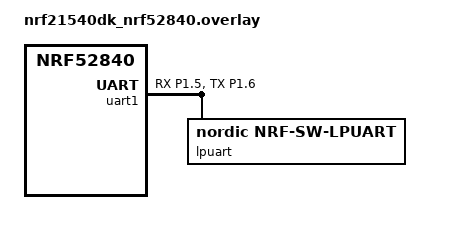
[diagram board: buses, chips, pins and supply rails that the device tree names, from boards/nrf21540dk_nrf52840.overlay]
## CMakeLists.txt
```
#
# Copyright (c) 2020 Nordic Semiconductor
#
# SPDX-License-Identifier: LicenseRef-Nordic-5-Clause
#

cmake_minimum_required(VERSION 3.20.0)

find_package(Zephyr REQUIRED HINTS $ENV{ZEPHYR_BASE})
project(low_power_uart)

FILE(GLOB app_sources src/*.c)
# NORDIC SDK APP START
target_sources(app PRIVATE
	${app_sources}
)
# NORDIC SDK APP END
```

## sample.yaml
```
sample:
  description: Low Power UART sample
  name: Low Power UART

common:
  tags:
    - ci_build
    - sysbuild
    - ci_samples_peripheral_lpuart
  timeout: 30

tests:
  sample.peripheral.lpuart:
    sysbuild: true
    platform_allow:
      - nrf52dk/nrf52832
      - nrf52833dk/nrf52833
      - nrf52840dk/nrf52840
      - nrf9160dk/nrf9160/ns
      - nrf5340dk/nrf5340/cpuapp
      - nrf21540dk/nrf52840
      - nrf54l15dk/nrf54l05/cpuapp
      - nrf54l15dk/nrf54l10/cpuapp
      - nrf54l15dk/nrf54l15/cpuapp
      - nrf54lv10dk/nrf54lv10a/cpuapp
      - nrf54lv10dk@0.0.0/nrf54lv10a/cpuapp
      - nrf54lv10dk@0.2.0/nrf54lv10a/cpuapp
      - nrf54lm20pdk/nrf54lm20a/cpuapp
      - nrf54lm20pdk@0.0.0/nrf54lm20a/cpuapp
      - nrf54lm20pdk@0.2.0/nrf54lm20a/cpuapp
      - nrf54lm20pdk@0.2.0.csp/nrf54lm20a/cpuapp
    integration_platforms:
      - nrf52dk/nrf52832
      - nrf52833dk/nrf52833
      - nrf52840dk/nrf52840
      - nrf9160dk/nrf9160/ns
      - nrf5340dk/nrf5340/cpuapp
      - nrf21540dk/nrf52840
      - nrf54l15dk/nrf54l05/cpuapp
      - nrf54l15dk/nrf54l10/cpuapp
      - nrf54l15dk/nrf54l15/cpuapp
      - nrf54lv10dk/nrf54lv10a/cpuapp
      - nrf54lm20pdk/nrf54lm20a/cpuapp
    platform_exclude: native_sim
    tags: ppk_power_measure
    harness: pytest
    harness_config:
      fixture: gpio_loopback
      pytest_root:
        - "${CUSTOM_ROOT_TEST_DIR}/test_measure_power_consumption.py::test_measure_and_data_dump_power_consumption_lpuart"
    timeout: 90
  sample.peripheral.lpuart.debug:
    sysbuild: true
    platform_allow:
      - nrf52833dk/nrf52833
      - nrf52840dk/nrf52840
      - nrf9160dk/nrf9160/ns
      - nrf5340dk/nrf5340/cpuapp
      - nrf21540dk/nrf52840
      - nrf54l15dk/nrf54l05/cpuapp
      - nrf54l15dk/nrf54l10/cpuapp
      - nrf54l15dk/nrf54l15/cpuapp
      - nrf54lv10dk/nrf54lv10a/cpuapp
      - nrf54lv10dk@0.0.0/nrf54lv10a/cpuapp
      - nrf54lv10dk@0.2.0/nrf54lv10a/cpuapp
      - nrf54lm20pdk/nrf54lm20a/cpuapp
      - nrf54lm20pdk@0.0.0/nrf54lm20a/cpuapp
      - nrf54lm20pdk@0.2.0/nrf54lm20a/cpuapp
      - nrf54lm20pdk@0.2.0.csp/nrf54lm20a/cpuapp
    integration_platforms:
      - nrf52840dk/nrf52840
    extra_configs:
      - CONFIG_ASSERT=y
      - CONFIG_CONSOLE=y
      - CONFIG_UART_CONSOLE=y
      - CONFIG_LOG=y
      - CONFIG_NRF_SW_LPUART_LOG_LEVEL_DBG=y
    harness: console
    harness_config:
      fixture: gpio_loopback
      type: multi_line
      ordered: true
      regex:
        - ".*app: ASYNC Tx sent 5 bytes"
        - ".*app: ASYNC Received data 5 bytes"
        - ".*app: ASYNC Received data 1 bytes"
        - ".*app: ASYNC Tx sent 5 bytes"
        - ".*app: ASYNC Received data 5 bytes"
        - ".*app: ASYNC Received data 1 bytes"
        - ".*app: ASYNC Tx sent 5 bytes"
        - ".*app: ASYNC Received data 5 bytes"
  sample.peripheral.lpuart_int_driven:
    sysbuild: true
    extra_configs:
      - CONFIG_NRF_SW_LPUART_INT_DRIVEN=y
    integration_platforms:
      - nrf52dk/nrf52832
      - nrf52833dk/nrf52833
      - nrf52840dk/nrf52840
      - nrf9160dk/nrf9160/ns
      - nrf5340dk/nrf5340/cpuapp
      - nrf21540dk/nrf52840
      - nrf54l15dk/nrf54l05/cpuapp
      - nrf54l15dk/nrf54l10/cpuapp
      - nrf54l15dk/nrf54l15/cpuapp
      - nrf54lv10dk/nrf54lv10a/cpuapp
      - nrf54lm20pdk/nrf54lm20a/cpuapp
    platform_allow:
      - nrf52dk/nrf52832
      - nrf52833dk/nrf52833
      - nrf52840dk/nrf52840
      - nrf9160dk/nrf9160/ns
      - nrf5340dk/nrf5340/cpuapp
      - nrf21540dk/nrf52840
      - nrf54l15dk/nrf54l05/cpuapp
      - nrf54l15dk/nrf54l10/cpuapp
      - nrf54l15dk/nrf54l15/cpuapp
      - nrf54lv10dk/nrf54lv10a/cpuapp
      - nrf54lv10dk@0.0.0/nrf54lv10a/cpuapp
      - nrf54lv10dk@0.2.0/nrf54lv10a/cpuapp
      - nrf54lm20pdk/nrf54lm20a/cpuapp
      - nrf54lm20pdk@0.0.0/nrf54lm20a/cpuapp
      - nrf54lm20pdk@0.2.0/nrf54lm20a/cpuapp
      - nrf54lm20pdk@0.2.0.csp/nrf54lm20a/cpuapp
    tags: ppk_power_measure
    harness: pytest
    harness_config:
      fixture: gpio_loopback
      pytest_root:
        - "${CUSTOM_ROOT_TEST_DIR}/test_measure_power_consumption.py::test_measure_and_data_dump_power_consumption_lpuart"
    timeout: 90
  sample.peripheral.lpuart_int_driven.debug:
    sysbuild: true
    extra_configs:
      - CONFIG_NRF_SW_LPUART_INT_DRIVEN=y
      - CONFIG_ASSERT=y
      - CONFIG_CONSOLE=y
      - CONFIG_UART_CONSOLE=y
      - CONFIG_LOG=y
      - CONFIG_NRF_SW_LPUART_LOG_LEVEL_DBG=y
    integration_platforms:
      - nrf52dk/nrf52832
      - nrf52833dk/nrf52833
      - nrf52840dk/nrf52840
      - nrf9160dk/nrf9160/ns
      - nrf5340dk/nrf5340/cpuapp
      - nrf21540dk/nrf52840
      - nrf54l15dk/nrf54l05/cpuapp
      - nrf54l15dk/nrf54l10/cpuapp
      - nrf54l15dk/nrf54l15/cpuapp
      - nrf54lv10dk/nrf54lv10a/cpuapp
      - nrf54lm20pdk/nrf54lm20a/cpuapp
    platform_allow:
      - nrf52dk/nrf52832
      - nrf52833dk/nrf52833
      - nrf52840dk/nrf52840
      - nrf9160dk/nrf9160/ns
      - nrf5340dk/nrf5340/cpuapp
      - nrf21540dk/nrf52840
      - nrf54l15dk/nrf54l05/cpuapp
      - nrf54l15dk/nrf54l10/cpuapp
      - nrf54l15dk/nrf54l15/cpuapp
      - nrf54lv10dk/nrf54lv10a/cpuapp
      - nrf54lv10dk@0.0.0/nrf54lv10a/cpuapp
      - nrf54lv10dk@0.2.0/nrf54lv10a/cpuapp
      - nrf54lm20pdk/nrf54lm20a/cpuapp
      - nrf54lm20pdk@0.0.0/nrf54lm20a/cpuapp
      - nrf54lm20pdk@0.2.0/nrf54lm20a/cpuapp
      - nrf54lm20pdk@0.2.0.csp/nrf54lm20a/cpuapp
    harness: console
    harness_config:
      fixture: gpio_loopback
      type: multi_line
      ordered: true
      regex:
        - ".*app: IRQ Tx sent 5 bytes"
        - ".*app: IRQ Received data 5 bytes"
        - ".*app: IRQ Received data 1 bytes"
        - ".*app: IRQ Tx sent 5 bytes"
        - ".*app: IRQ Received data 5 bytes"
        - ".*app: IRQ Received data 1 bytes"
        - ".*app: IRQ Tx sent 5 bytes"
        - ".*app: IRQ Received data 5 bytes"
```

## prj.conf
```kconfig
#
# Copyright (c) 2020 Nordic Semiconductor
#
# SPDX-License-Identifier: LicenseRef-Nordic-5-Clause
#
CONFIG_NRF_SW_LPUART=y

# Sample is showing low power capabilities of low power uart module thus
# console/logging uart is disabled.

CONFIG_CONSOLE=n
CONFIG_UART_CONSOLE=n
```

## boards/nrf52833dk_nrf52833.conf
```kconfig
#
# Copyright (c) 2024 Nordic Semiconductor
#
# SPDX-License-Identifier: LicenseRef-Nordic-5-Clause
#
CONFIG_UART_1_ASYNC=y
CONFIG_UART_1_INTERRUPT_DRIVEN=n
CONFIG_UART_1_NRF_HW_ASYNC=y
CONFIG_UART_1_NRF_HW_ASYNC_TIMER=2
CONFIG_UART_1_NRF_ASYNC_LOW_POWER=y
CONFIG_NRFX_TIMER2=y
```

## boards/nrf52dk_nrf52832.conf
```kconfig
#
# Copyright (c) 2020 Nordic Semiconductor
#
# SPDX-License-Identifier: LicenseRef-Nordic-5-Clause
#

CONFIG_UART_0_ASYNC=y
CONFIG_UART_0_INTERRUPT_DRIVEN=n
CONFIG_UART_0_NRF_HW_ASYNC=y
CONFIG_UART_0_NRF_HW_ASYNC_TIMER=2
CONFIG_NRFX_TIMER2=y
```

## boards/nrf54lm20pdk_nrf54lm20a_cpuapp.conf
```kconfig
#
# Copyright (c) 2024 Nordic Semiconductor
#
# SPDX-License-Identifier: LicenseRef-Nordic-5-Clause
#
CONFIG_UART_21_ASYNC=y
CONFIG_UART_21_INTERRUPT_DRIVEN=n
# Do not use interrupt driven API for console UART to not enable RX.
CONFIG_UART_20_INTERRUPT_DRIVEN=n
```

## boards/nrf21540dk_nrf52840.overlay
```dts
/* SPDX-License-Identifier: LicenseRef-Nordic-5-Clause */

&uart1 {
	status = "okay";
	pinctrl-0 = <&uart1_default_alt>;
	pinctrl-1 = <&uart1_sleep_alt>;
	pinctrl-names = "default", "sleep";
	lpuart: nrf-sw-lpuart {
		compatible = "nordic,nrf-sw-lpuart";
		status = "okay";
		req-pin = <39>;
		rdy-pin = <40>;
	};
};

&uart0_default {
	/* Disconnect CTS and RTS lines from pins.
	 * This is a temporary workaround for increased current consumption
	 * observed on nRF21540 v2.0.0 only (~450 uA more than on v1.0.0).
	 */
	group1 {
		psels = <NRF_PSEL(UART_TX, 0, 6)>,
			<NRF_PSEL_DISCONNECTED(UART_RTS)>;
	};
	group2 {
		psels = <NRF_PSEL(UART_RX, 0, 8)>,
			<NRF_PSEL_DISCONNECTED(UART_CTS)>;
	};
};

&uart0 {
	disable-rx;
};

&gpiote {
	interrupts = <6 NRF_DEFAULT_IRQ_PRIORITY>;
};

&pinctrl {
	uart1_default_alt: uart1_default_alt {
		group1 {
			psels = <NRF_PSEL(UART_RX, 1, 5)>,
				<NRF_PSEL(UART_TX, 1, 6)>;
		};
	};

	uart1_sleep_alt: uart1_sleep_alt {
		group1 {
			psels = <NRF_PSEL(UART_RX, 1, 5)>,
				<NRF_PSEL(UART_TX, 1, 6)>;
			low-power-enable;
		};
	};
};
```

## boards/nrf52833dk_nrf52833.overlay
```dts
/* SPDX-License-Identifier: LicenseRef-Nordic-5-Clause */

&uart1 {
	status = "okay";
	pinctrl-0 = <&uart1_default_alt>;
	pinctrl-1 = <&uart1_sleep_alt>;
	pinctrl-names = "default", "sleep";
	lpuart: nrf-sw-lpuart {
		compatible = "nordic,nrf-sw-lpuart";
		status = "okay";
		req-pin = <22>;
		rdy-pin = <23>;
	};
};

&uart0 {
	disable-rx;
};

&gpiote {
	interrupts = <6 NRF_DEFAULT_IRQ_PRIORITY>;
};

&pinctrl {
	uart1_default_alt: uart1_default_alt {
		group1 {
			psels = <NRF_PSEL(UART_RX, 0, 20)>,
				<NRF_PSEL(UART_TX, 0, 21)>;
		};
	};

	uart1_sleep_alt: uart1_sleep_alt {
		group1 {
			psels = <NRF_PSEL(UART_RX, 0, 20)>,
				<NRF_PSEL(UART_TX, 0, 21)>;
			low-power-enable;
		};
	};
};
```

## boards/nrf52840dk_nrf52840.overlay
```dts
/* SPDX-License-Identifier: LicenseRef-Nordic-5-Clause */

&uart1 {
	status = "okay";
	pinctrl-0 = <&uart1_default_alt>;
	pinctrl-1 = <&uart1_sleep_alt>;
	pinctrl-names = "default", "sleep";
	lpuart: nrf-sw-lpuart {
		compatible = "nordic,nrf-sw-lpuart";
		status = "okay";
		req-pin = <46>;
		rdy-pin = <47>;
	};
};

&uart0 {
	disable-rx;
};

&uart0_default {
	/* Disconnect CTS and RTS lines from pins.
	 * This is a temporary workaround for increased current consumption
	 * observed on nRF52840 v3.0.0 only (~450 uA more then on v2.1.0).
	 */
	group1 {
		psels = <NRF_PSEL(UART_TX, 0, 6)>,
			<NRF_PSEL_DISCONNECTED(UART_RTS)>;
	};
	group2 {
		psels = <NRF_PSEL(UART_RX, 0, 8)>,
			<NRF_PSEL_DISCONNECTED(UART_CTS)>;
	};
};

&gpiote {
	interrupts = <6 NRF_DEFAULT_IRQ_PRIORITY>;
};

&pinctrl {
	uart1_default_alt: uart1_default_alt {
		group1 {
			psels = <NRF_PSEL(UART_RX, 1, 12)>,
				<NRF_PSEL(UART_TX, 1, 13)>;
		};
	};

	uart1_sleep_alt: uart1_sleep_alt {
		group1 {
			psels = <NRF_PSEL(UART_RX, 1, 12)>,
				<NRF_PSEL(UART_TX, 1, 13)>;
			low-power-enable;
		};
	};
};
```

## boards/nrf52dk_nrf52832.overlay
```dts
/* SPDX-License-Identifier: LicenseRef-Nordic-5-Clause */

&uart0 {
	compatible = "nordic,nrf-uarte";

	pinctrl-0 = <&uart0_default_alt>;
	pinctrl-1 = <&uart0_sleep_alt>;
	pinctrl-names = "default", "sleep";
	lpuart: nrf-sw-lpuart {
		compatible = "nordic,nrf-sw-lpuart";
		status = "okay";
		req-pin = <24>;
		rdy-pin = <25>;
	};
};

&gpiote {
	interrupts = <6 NRF_DEFAULT_IRQ_PRIORITY>;
};

&pinctrl {
	uart0_default_alt: uart0_default_alt {
		group1 {
			psels = <NRF_PSEL(UART_RX, 0, 22)>,
				<NRF_PSEL(UART_TX, 0, 23)>;
		};
	};

	uart0_sleep_alt: uart0_sleep_alt {
		group1 {
			psels = <NRF_PSEL(UART_RX, 0, 22)>,
				<NRF_PSEL(UART_TX, 0, 23)>;
			low-power-enable;
		};
	};

};
```

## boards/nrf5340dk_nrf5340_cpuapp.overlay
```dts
/* SPDX-License-Identifier: LicenseRef-Nordic-5-Clause */

&uart1 {
	status = "okay";
	current-speed = <115200>;

	pinctrl-0 = <&uart1_default_alt>;
	pinctrl-1 = <&uart1_sleep_alt>;
	pinctrl-names = "default", "sleep";
	lpuart: nrf-sw-lpuart {
		compatible = "nordic,nrf-sw-lpuart";
		status = "okay";
		req-pin = <46>;
		rdy-pin = <47>;
	};
};

&uart0 {
	disable-rx;
};

&uart0_default {
	/* Disconnect CTS and RTS lines from pins.
	 * This is a temporary workaround for increased current consumption
	 * observed on nRF5340 DKs only (~200 uA more on v0.9.0 and ~400 uA
	 * more on v2.0.0).
	 */
	group1 {
		psels = <NRF_PSEL(UART_TX, 0, 20)>,
			<NRF_PSEL_DISCONNECTED(UART_RTS)>;
	};
	group2 {
		psels = <NRF_PSEL(UART_RX, 0, 22)>,
			<NRF_PSEL_DISCONNECTED(UART_CTS)>;
	};
};

&gpiote {
	interrupts = <13 NRF_DEFAULT_IRQ_PRIORITY>;
};

&pinctrl {
	uart1_default_alt: uart1_default_alt {
		group1 {
			psels = <NRF_PSEL(UART_RX, 1, 12)>,
				<NRF_PSEL(UART_TX, 1, 13)>;
		};
	};

	uart1_sleep_alt: uart1_sleep_alt {
		group1 {
			psels = <NRF_PSEL(UART_RX, 1, 12)>,
				<NRF_PSEL(UART_TX, 1, 13)>;
			low-power-enable;
		};
	};
};
```

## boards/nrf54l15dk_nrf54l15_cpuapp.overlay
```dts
/* SPDX-License-Identifier: LicenseRef-Nordic-5-Clause */

&pinctrl {
	uart21_default_alt: uart21_default_alt {
		group1 {
			psels = <NRF_PSEL(UART_RX, 1, 10)>,
				<NRF_PSEL(UART_TX, 1, 11)>;
		};
	};

	uart21_sleep_alt: uart21_sleep_alt {
		group1 {
			psels = <NRF_PSEL(UART_RX, 1, 10)>,
				<NRF_PSEL(UART_TX, 1, 11)>;
			low-power-enable;
		};
	};
};

&uart21 {
	status = "okay";
	pinctrl-0 = <&uart21_default_alt>;
	pinctrl-1 = <&uart21_sleep_alt>;
	pinctrl-names = "default", "sleep";
	current-speed = <115200>;
	lpuart: nrf-sw-lpuart {
		compatible = "nordic,nrf-sw-lpuart";
		status = "okay";
		req-pin = <40>;
		rdy-pin = <41>;
	};
};

&gpiote20 {
	status = "okay";
};

&uart20_default {
	/* Disconnect CTS and RTS lines from pins.
	 * This is a workaround for increased current consumption
	 * (~250 uA more).
	 */
	group1 {
		psels = <NRF_PSEL(UART_TX, 1, 4)>,
			<NRF_PSEL_DISCONNECTED(UART_RTS)>;
	};
	group2 {
		psels = <NRF_PSEL(UART_RX, 1, 5)>,
			<NRF_PSEL_DISCONNECTED(UART_CTS)>;
		bias-pull-up;
	};
};
```

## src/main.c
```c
/*
 * Copyright (c) 2020 Nordic Semiconductor ASA
 *
 * SPDX-License-Identifier: LicenseRef-Nordic-5-Clause
 */

#include <string.h>
#include <stdio.h>
#include <zephyr/kernel.h>
#include <zephyr/device.h>
#include <zephyr/devicetree.h>
#include <zephyr/logging/log.h>
#include <zephyr/drivers/uart.h>

LOG_MODULE_REGISTER(app);

#define BUF_SIZE 64
K_MEM_SLAB_DEFINE_STATIC(uart_slab, BUF_SIZE, 3, 4);

#define TX_DATA_SIZE 5
static const uint8_t tx_buf[TX_DATA_SIZE] = {1, 2, 3, 4, 5};
static uint8_t buffer_print[TX_DATA_SIZE * 5 + 1];

static void to_display_format(const uint8_t *src, size_t size, char *dst)
{
	size_t i;

	for (i = 0; i < size; i++) {
		sprintf(dst + 5 * i, "0x%02x,", src[i]);
	}
}

static void verify_buffers(const uint8_t *tx_data, char *rx_data, size_t size)
{
	if (memcmp(tx_data, rx_data, size)) {
		to_display_format(tx_data, size, buffer_print);
		LOG_ERR("Buffer contents are different: %s", buffer_print);
		to_display_format(rx_data, size, buffer_print);
		LOG_ERR("                           vs: %s", buffer_print);
		__ASSERT(false, "Buffer contents are different");
	}
}

static void uart_irq_handler(const struct device *dev, void *context)
{
	if (uart_irq_tx_ready(dev)) {
		(void)uart_fifo_fill(dev, tx_buf, TX_DATA_SIZE);
		uart_irq_tx_disable(dev);
		LOG_INF("IRQ Tx sent %d bytes", TX_DATA_SIZE);
	}

	if (uart_irq_rx_ready(dev)) {
		uint8_t buf[TX_DATA_SIZE + 1];
		int len = uart_fifo_read(dev, buf, sizeof(buf));

		LOG_INF("IRQ Received data %d bytes", len);
		__ASSERT(len == 1 || len == TX_DATA_SIZE, "Received unexpected data");
		if (len == TX_DATA_SIZE) {
			verify_buffers(tx_buf, buf, TX_DATA_SIZE);
		}
	}
}

static void interrupt_driven(const struct device *dev)
{
	uint8_t c = 0xff;

	uart_irq_callback_set(dev, uart_irq_handler);
	uart_irq_rx_enable(dev);
	while (1) {
		uart_irq_tx_enable(dev);
		k_sleep(K_MSEC(500));

		uart_poll_out(dev, c);
		k_sleep(K_MSEC(100));
	}
}

static void uart_callback(const struct device *dev, struct uart_event *evt, void *user_data)
{
	struct device *uart = user_data;
	int err;

	switch (evt->type) {
	case UART_TX_DONE:
		LOG_INF("ASYNC Tx sent %d bytes", evt->data.tx.len);
		break;

	case UART_TX_ABORTED:
		LOG_ERR("ASYNC Tx aborted");
		break;

	case UART_RX_RDY:
		LOG_INF("ASYNC Received data %d bytes", evt->data.rx.len);
		__ASSERT(evt->data.rx.len == 1 || evt->data.rx.len == TX_DATA_SIZE,
			 "Received unexpected data");
		if (evt->data.rx.len == TX_DATA_SIZE) {
			verify_buffers(tx_buf, evt->data.rx.buf + evt->data.rx.offset,
				       TX_DATA_SIZE);
		}
		break;

	case UART_RX_BUF_REQUEST: {
		uint8_t *buf;

		err = k_mem_slab_alloc(&uart_slab, (void **)&buf, K_NO_WAIT);
		__ASSERT(err == 0, "Failed to allocate slab");

		err = uart_rx_buf_rsp(uart, buf, BUF_SIZE);
		__ASSERT(err == 0, "Failed to provide new buffer");
		break;
	}

	case UART_RX_BUF_RELEASED:
		k_mem_slab_free(&uart_slab, (void *)evt->data.rx_buf.buf);
		break;

	case UART_RX_DISABLED:
		break;

	case UART_RX_STOPPED:
		break;
	}
}

static void async(const struct device *lpuart)
{
	int err;
	uint8_t *buf;

	err = k_mem_slab_alloc(&uart_slab, (void **)&buf, K_NO_WAIT);
	__ASSERT(err == 0, "Failed to alloc slab");

	err = uart_callback_set(lpuart, uart_callback, (void *)lpuart);
	__ASSERT(err == 0, "Failed to set callback");

	err = uart_rx_enable(lpuart, buf, BUF_SIZE, 10000);
	__ASSERT(err == 0, "Failed to enable RX");

	while (1) {
		err = uart_tx(lpuart, tx_buf, sizeof(tx_buf), 10000);
		__ASSERT(err == 0, "Failed to initiate transmission");

		k_sleep(K_MSEC(500));

		uart_poll_out(lpuart, tx_buf[0]);
		k_sleep(K_MSEC(100));
	}
}

int main(void)
{
	const struct device *lpuart = DEVICE_DT_GET(DT_NODELABEL(lpuart));

	__ASSERT(device_is_ready(lpuart), "LPUART device not ready");

	if (IS_ENABLED(CONFIG_NRF_SW_LPUART_INT_DRIVEN)) {
		interrupt_driven(lpuart);
	} else {
		async(lpuart);
	}

	return 0;
}
```
